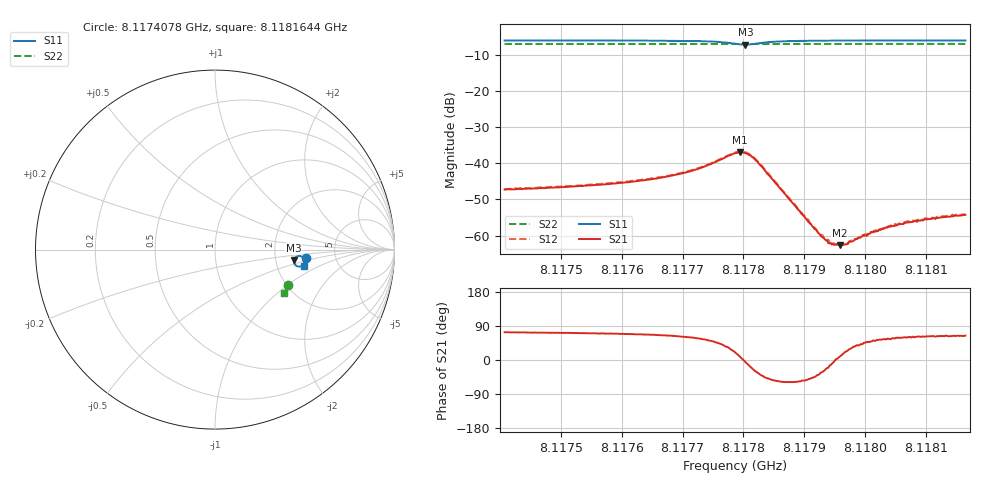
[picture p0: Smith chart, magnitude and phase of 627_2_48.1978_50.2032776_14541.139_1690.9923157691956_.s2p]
#  HZ  S  RI  R  50.00
! Rohde & Schwarz Vector Network Analyzer
! Rohde-Schwarz,ZNB20-2Port,1311601062101988,3.16
! Created: UTC 3/20/2024, 12:04:09 PM
! freq[Hz]  re:S11  im:S11  re:S21  im:S21  re:S12  im:S12  re:S22  im:S22
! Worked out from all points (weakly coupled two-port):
!   401 points, 8.1174078 GHz to 8.1181644 GHz, reference 50 ohm
!   highest |S21| = -36.84 dB at 8.1177937 GHz (marker M1); lowest = -62.6 dB at 8.1179582 GHz (marker M2)
!   lowest |S11| = -7.1 dB at 8.1178031 GHz (marker M3), VSWR 2.60, Z = 126 - j19.1 ohm
!   |S11| at or under -10 dB: nowhere
!   |S22| runs from -6.9 to -6.8 dB; largest |S21 - S12| = 0.00042
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8.11740782e9  0.5047 -0.0467  0.00125 0.00416  0.00128 0.00427  0.4081 -0.1953
8.11753454e9  0.5029 -0.0585  0.00159 0.00459  0.00165 0.00468  0.4045 -0.2034
8.1176102e9  0.5006 -0.0668  0.00202 0.0051  0.00206 0.00519  0.4023 -0.2084
8.11766127e9  0.4983 -0.0739  0.00258 0.00573  0.00266 0.00584  0.4004 -0.2116
8.1176991e9  0.4945 -0.0806  0.00344 0.0064  0.00355 0.00656  0.3991 -0.2143
8.11772937e9  0.4884 -0.0871  0.00483 0.00715  0.00494 0.00732  0.3979 -0.2163
8.11778611e9  0.4484 -0.0863  0.013 0.00478  0.0132 0.00488  0.3945 -0.2191
8.11779368e9  0.4417 -0.0767  0.0142 0.00235  0.0143 0.00241  0.3942 -0.219
8.11780313e9  0.4396 -0.0605  0.0138 -0.00123  0.0142 -0.00119  0.394 -0.2189
8.11781448e9  0.4489 -0.0434  0.0113 -0.00468  0.0117 -0.00485  0.3941 -0.2189
8.11782772e9  0.4659 -0.0355  0.00736 -0.00595  0.00752 -0.00605  0.3946 -0.2196
8.11785988e9  0.4899 -0.0443  0.00248 -0.00379  0.00251 -0.00391  0.3946 -0.2222
8.11791284e9  0.4988 -0.06  0.000911 -0.001  0.000946 -0.00103  0.3932 -0.2262
8.11792608e9  0.4993 -0.0628  0.000831 -0.000571  0.000857 -0.000606  0.3927 -0.2269
8.11794121e9  0.4998 -0.0656  0.000754 -0.000198  0.000751 -0.000215  0.3923 -0.2281
8.11794878e9  0.4998 -0.0669  0.000741 -5.42e-05  0.000774 -7.21e-05  0.392 -0.2285
8.11795823e9  0.4999 -0.0684  0.000728 0.000119  0.000748 0.000162  0.3917 -0.2291
8.11796769e9  0.5002 -0.0699  0.000704 0.000281  0.000745 0.000286  0.3915 -0.2298
8.11800741e9  0.5 -0.0751  0.000714 0.00078  0.000713 0.000846  0.39 -0.2323
8.11803957e9  0.4997 -0.0789  0.000753 0.0011  0.000739 0.00115  0.3889 -0.2344
8.11806983e9  0.4996 -0.0822  0.000759 0.0013  0.000804 0.00135  0.388 -0.2363
8.1181644e9  0.4981 -0.0911  0.000839 0.00174  0.000851 0.00181  0.3847 -0.2421
